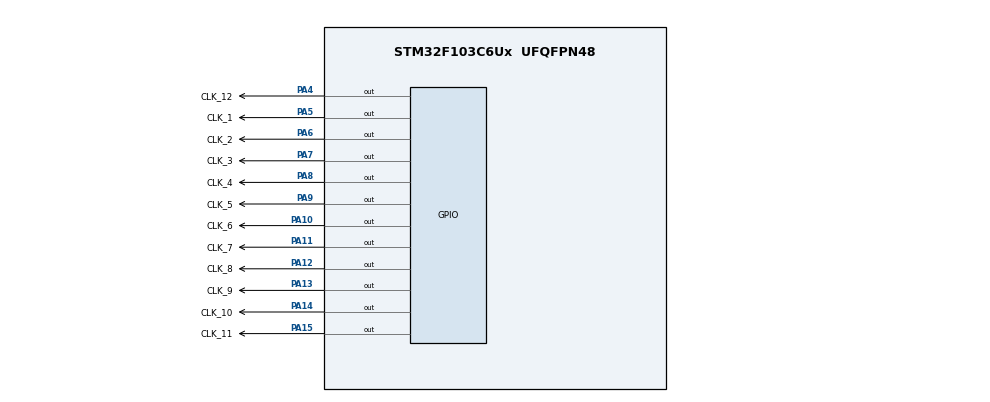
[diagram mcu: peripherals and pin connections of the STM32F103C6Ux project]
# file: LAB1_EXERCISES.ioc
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Mcu.Family=STM32F1
Mcu.Name=STM32F103C6Ux
Mcu.Package=UFQFPN48
NVIC.PriorityGroup=NVIC_PRIORITYGROUP_4
PA10.GPIO_Label=CLK_6
PA10.Signal=GPIO_Output
PA11.GPIO_Label=CLK_7
PA11.Signal=GPIO_Output
PA12.GPIO_Label=CLK_8
PA12.Signal=GPIO_Output
PA13.GPIO_Label=CLK_9
PA13.Signal=GPIO_Output
PA14.GPIO_Label=CLK_10
PA14.Signal=GPIO_Output
PA15.GPIO_Label=CLK_11
PA15.Signal=GPIO_Output
PA4.GPIO_Label=CLK_12
PA4.Signal=GPIO_Output
PA5.GPIO_Label=CLK_1
PA5.Signal=GPIO_Output
PA6.GPIO_Label=CLK_2
PA6.Signal=GPIO_Output
PA7.GPIO_Label=CLK_3
PA7.Signal=GPIO_Output
PA8.GPIO_Label=CLK_4
PA8.Signal=GPIO_Output
PA9.GPIO_Label=CLK_5
PA9.Signal=GPIO_Output
ProjectManager.HeapSize=0x200
ProjectManager.StackSize=0x400
ProjectManager.TargetToolchain=STM32CubeIDE
RCC.APB1Freq_Value=8000000
RCC.APB2Freq_Value=8000000
board=custom

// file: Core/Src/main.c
/* USER CODE BEGIN Header */
/**
  ******************************************************************************
  * @file           : main.c
  * @brief          : Main program body
  ******************************************************************************
  * @attention
  *
  * Copyright (c) 2023 STMicroelectronics.
  * All rights reserved.
  *
  * This software is licensed under terms that can be found in the LICENSE file
  * in the root directory of this software component.
  * If no LICENSE file comes with this software, it is provided AS-IS.
  *
  ******************************************************************************
  */
/* USER CODE END Header */
#include "main.h"

void SystemClock_Config(void);
static void MX_GPIO_Init(void);
/* USER CODE BEGIN PFP */
void clearAllClock(void);
void setNumberOnClock(int);
void clearNumberOnClock(int);
/* USER CODE END PFP */

/* USER CODE BEGIN 0 */
void clearAllClock(){
	HAL_GPIO_WritePin(GPIOA, CLK_12_Pin, GPIO_PIN_RESET);
	HAL_GPIO_WritePin(GPIOA, CLK_1_Pin, GPIO_PIN_RESET);
	HAL_GPIO_WritePin(GPIOA, CLK_2_Pin, GPIO_PIN_RESET);
	HAL_GPIO_WritePin(GPIOA, CLK_3_Pin, GPIO_PIN_RESET);
	HAL_GPIO_WritePin(GPIOA, CLK_4_Pin, GPIO_PIN_RESET);
	HAL_GPIO_WritePin(GPIOA, CLK_5_Pin, GPIO_PIN_RESET);
	HAL_GPIO_WritePin(GPIOA, CLK_6_Pin, GPIO_PIN_RESET);
	HAL_GPIO_WritePin(GPIOA, CLK_7_Pin, GPIO_PIN_RESET);
	HAL_GPIO_WritePin(GPIOA, CLK_8_Pin, GPIO_PIN_RESET);
	HAL_GPIO_WritePin(GPIOA, CLK_9_Pin, GPIO_PIN_RESET);
	HAL_GPIO_WritePin(GPIOA, CLK_10_Pin, GPIO_PIN_RESET);
	HAL_GPIO_WritePin(GPIOA, CLK_11_Pin, GPIO_PIN_RESET);
}

void setNumberOnClock(int num){
	switch(num){
	case 0:
		HAL_GPIO_WritePin(GPIOA, CLK_12_Pin, GPIO_PIN_SET);
		break;
	case 1:
		HAL_GPIO_WritePin(GPIOA, CLK_1_Pin, GPIO_PIN_SET);
		break;
	case 2:
		HAL_GPIO_WritePin(GPIOA, CLK_2_Pin, GPIO_PIN_SET);
		break;
	case 3:
		HAL_GPIO_WritePin(GPIOA, CLK_3_Pin, GPIO_PIN_SET);
		break;
	case 4:
		HAL_GPIO_WritePin(GPIOA, CLK_4_Pin, GPIO_PIN_SET);
		break;
	case 5:
		HAL_GPIO_WritePin(GPIOA, CLK_5_Pin, GPIO_PIN_SET);
		break;
	case 6:
		HAL_GPIO_WritePin(GPIOA, CLK_6_Pin, GPIO_PIN_SET);
		break;
	case 7:
		HAL_GPIO_WritePin(GPIOA, CLK_7_Pin, GPIO_PIN_SET);
		break;
	case 8:
		HAL_GPIO_WritePin(GPIOA, CLK_8_Pin, GPIO_PIN_SET);
		break;
	case 9:
		HAL_GPIO_WritePin(GPIOA, CLK_9_Pin, GPIO_PIN_SET);
		break;
	case 10:
		HAL_GPIO_WritePin(GPIOA, CLK_10_Pin, GPIO_PIN_SET);
		break;
	case 11:
		HAL_GPIO_WritePin(GPIOA, CLK_11_Pin, GPIO_PIN_SET);
		break;
	default:
		break;
	}
}

void clearNumberOnClock(int num){
	switch(num){
	case 0:
		HAL_GPIO_WritePin(GPIOA, CLK_12_Pin, GPIO_PIN_RESET);
		break;
	case 1:
		HAL_GPIO_WritePin(GPIOA, CLK_1_Pin, GPIO_PIN_RESET);
		break;
	case 2:
		HAL_GPIO_WritePin(GPIOA, CLK_2_Pin, GPIO_PIN_RESET);
		break;
	case 3:
		HAL_GPIO_WritePin(GPIOA, CLK_3_Pin, GPIO_PIN_RESET);
		break;
	case 4:
		HAL_GPIO_WritePin(GPIOA, CLK_4_Pin, GPIO_PIN_RESET);
		break;
	case 5:
		HAL_GPIO_WritePin(GPIOA, CLK_5_Pin, GPIO_PIN_RESET);
		break;
	case 6:
		HAL_GPIO_WritePin(GPIOA, CLK_6_Pin, GPIO_PIN_RESET);
		break;
	case 7:
		HAL_GPIO_WritePin(GPIOA, CLK_7_Pin, GPIO_PIN_RESET);
		break;
	case 8:
		HAL_GPIO_WritePin(GPIOA, CLK_8_Pin, GPIO_PIN_RESET);
		break;
	case 9:
		HAL_GPIO_WritePin(GPIOA, CLK_9_Pin, GPIO_PIN_RESET);
		break;
	case 10:
		HAL_GPIO_WritePin(GPIOA, CLK_10_Pin, GPIO_PIN_RESET);
		break;
	case 11:
		HAL_GPIO_WritePin(GPIOA, CLK_11_Pin, GPIO_PIN_RESET);
		break;
	default:
		break;
	}
}
/* USER CODE END 0 */

int main(void)
{

  /* MCU Configuration--------------------------------------------------------*/

  /* Reset of all peripherals, Initializes the Flash interface and the Systick. */
  HAL_Init();

  /* Configure the system clock */
  SystemClock_Config();

  /* Initialize all configured peripherals */
  MX_GPIO_Init();

  /* Infinite loop */
  /* USER CODE BEGIN WHILE */
  int second = 0;
  int minute = 10;
  int hour = 5;
  while (1)
  {
	clearAllClock();
	if(second == 60) {
		minute++;
		second = 0;
	}
	if(minute == 60){
		hour++;
		minute = 0;
		if(hour == 13) hour = 1;
	}
	second++;

	setNumberOnClock(second / 5);
	setNumberOnClock(minute / 5);
	setNumberOnClock(hour);

	HAL_Delay(200);
    /* USER CODE END WHILE */

  }
}

void SystemClock_Config(void)
{
  RCC_OscInitTypeDef RCC_OscInitStruct = {0};
  RCC_ClkInitTypeDef RCC_ClkInitStruct = {0};

  /** Initializes the RCC Oscillators according to the specified parameters
  * in the RCC_OscInitTypeDef structure.
  */
  RCC_OscInitStruct.OscillatorType = RCC_OSCILLATORTYPE_HSI;
  RCC_OscInitStruct.HSIState = RCC_HSI_ON;
  RCC_OscInitStruct.HSICalibrationValue = RCC_HSICALIBRATION_DEFAULT;
  RCC_OscInitStruct.PLL.PLLState = RCC_PLL_NONE;
  if (HAL_RCC_OscConfig(&RCC_OscInitStruct) != HAL_OK)
  {
    Error_Handler();
  }

  /** Initializes the CPU, AHB and APB buses clocks
  */
  RCC_ClkInitStruct.ClockType = RCC_CLOCKTYPE_HCLK|RCC_CLOCKTYPE_SYSCLK
                              |RCC_CLOCKTYPE_PCLK1|RCC_CLOCKTYPE_PCLK2;
  RCC_ClkInitStruct.SYSCLKSource = RCC_SYSCLKSOURCE_HSI;
  RCC_ClkInitStruct.AHBCLKDivider = RCC_SYSCLK_DIV1;
  RCC_ClkInitStruct.APB1CLKDivider = RCC_HCLK_DIV1;
  RCC_ClkInitStruct.APB2CLKDivider = RCC_HCLK_DIV1;

  if (HAL_RCC_ClockConfig(&RCC_ClkInitStruct, FLASH_LATENCY_0) != HAL_OK)
  {
    Error_Handler();
  }
}

static void MX_GPIO_Init(void)
{
  GPIO_InitTypeDef GPIO_InitStruct = {0};

  /* GPIO Ports Clock Enable */
  __HAL_RCC_GPIOA_CLK_ENABLE();

  /*Configure GPIO pin Output Level */
  HAL_GPIO_WritePin(GPIOA, CLK_12_Pin|CLK_1_Pin|CLK_2_Pin|CLK_3_Pin
                          |CLK_4_Pin|CLK_5_Pin|CLK_6_Pin|CLK_7_Pin
                          |CLK_8_Pin|CLK_9_Pin|CLK_10_Pin|CLK_11_Pin, GPIO_PIN_RESET);

  /*Configure GPIO pins : CLK_12_Pin CLK_1_Pin CLK_2_Pin CLK_3_Pin
                           CLK_4_Pin CLK_5_Pin CLK_6_Pin CLK_7_Pin
                           CLK_8_Pin CLK_9_Pin CLK_10_Pin CLK_11_Pin */
  GPIO_InitStruct.Pin = CLK_12_Pin|CLK_1_Pin|CLK_2_Pin|CLK_3_Pin
                          |CLK_4_Pin|CLK_5_Pin|CLK_6_Pin|CLK_7_Pin
                          |CLK_8_Pin|CLK_9_Pin|CLK_10_Pin|CLK_11_Pin;
  GPIO_InitStruct.Mode = GPIO_MODE_OUTPUT_PP;
  GPIO_InitStruct.Pull = GPIO_NOPULL;
  GPIO_InitStruct.Speed = GPIO_SPEED_FREQ_LOW;
  HAL_GPIO_Init(GPIOA, &GPIO_InitStruct);

}

void Error_Handler(void)
{
  __disable_irq();
  while (1)
  {
  }
}
